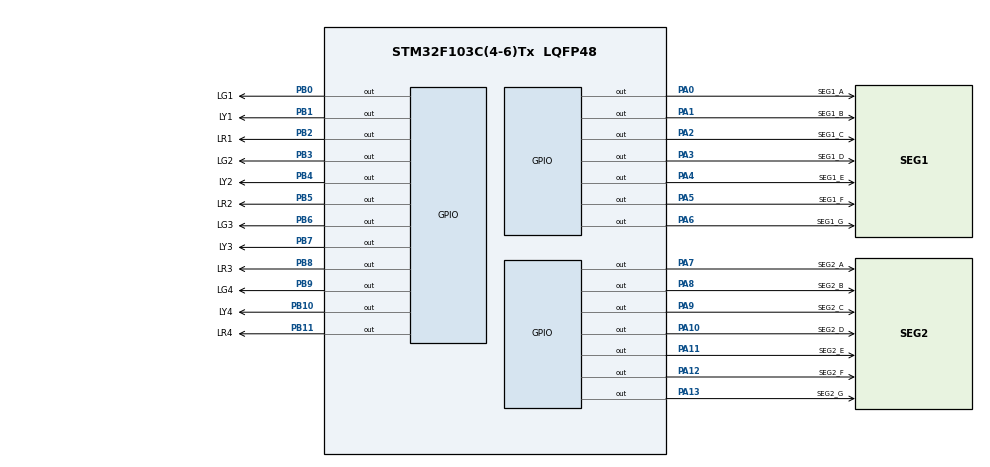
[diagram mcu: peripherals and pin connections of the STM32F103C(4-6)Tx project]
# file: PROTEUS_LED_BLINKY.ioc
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Mcu.Family=STM32F1
Mcu.Name=STM32F103C(4-6)Tx
Mcu.Package=LQFP48
NVIC.PriorityGroup=NVIC_PRIORITYGROUP_4
PA0-WKUP.GPIO_Label=SEG1_A
PA0-WKUP.Signal=GPIO_Output
PA1.GPIO_Label=SEG1_B
PA1.Signal=GPIO_Output
PA2.GPIO_Label=SEG1_C
PA2.Signal=GPIO_Output
PA3.GPIO_Label=SEG1_D
PA3.Signal=GPIO_Output
PA4.GPIO_Label=SEG1_E
PA4.Signal=GPIO_Output
PA5.GPIO_Label=SEG1_F
PA5.Signal=GPIO_Output
PA6.GPIO_Label=SEG1_G
PA6.Signal=GPIO_Output
PA7.GPIO_Label=SEG2_A
PA7.Signal=GPIO_Output
PA8.GPIO_Label=SEG2_B
PA8.Signal=GPIO_Output
PA9.GPIO_Label=SEG2_C
PA9.Signal=GPIO_Output
PA10.GPIO_Label=SEG2_D
PA10.Signal=GPIO_Output
PA11.GPIO_Label=SEG2_E
PA11.Signal=GPIO_Output
PA12.GPIO_Label=SEG2_F
PA12.Signal=GPIO_Output
PA13.GPIO_Label=SEG2_G
PA13.Signal=GPIO_Output
PB0.GPIO_Label=LG1
PB0.Signal=GPIO_Output
PB1.GPIO_Label=LY1
PB1.Signal=GPIO_Output
PB2.GPIO_Label=LR1
PB2.Signal=GPIO_Output
PB3.GPIO_Label=LG2
PB3.Signal=GPIO_Output
PB4.GPIO_Label=LY2
PB4.Signal=GPIO_Output
PB5.GPIO_Label=LR2
PB5.Signal=GPIO_Output
PB6.GPIO_Label=LG3
PB6.Signal=GPIO_Output
PB7.GPIO_Label=LY3
PB7.Signal=GPIO_Output
PB8.GPIO_Label=LR3
PB8.Signal=GPIO_Output
PB9.GPIO_Label=LG4
PB9.Signal=GPIO_Output
PB10.GPIO_Label=LY4
PB10.Signal=GPIO_Output
PB11.GPIO_Label=LR4
PB11.Signal=GPIO_Output
PD0-OSC_IN.Mode=HSE-External-Oscillator
PD0-OSC_IN.Signal=RCC_OSC_IN
PD1-OSC_OUT.Mode=HSE-External-Oscillator
PD1-OSC_OUT.Signal=RCC_OSC_OUT
ProjectManager.HeapSize=0x200
ProjectManager.StackSize=0x400
ProjectManager.TargetToolchain=STM32CubeIDE
RCC.APB1Freq_Value=8000000
RCC.APB2Freq_Value=8000000
VP_SYS_VS_ND.Mode=No_Debug
board=custom

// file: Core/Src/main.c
/* USER CODE BEGIN Header */
/**
  ******************************************************************************
  * @file           : main.c
  * @brief          : Main program body
  ******************************************************************************
  * @attention
  *
  * Copyright (c) 2026 STMicroelectronics.
  * All rights reserved.
  *
  * This software is licensed under terms that can be found in the LICENSE file
  * in the root directory of this software component.
  * If no LICENSE file comes with this software, it is provided AS-IS.
  *
  ******************************************************************************
  */
/* USER CODE END Header */
#include "main.h"

/* USER CODE BEGIN PD */
#define SEG1_PINS (SEG1_A_Pin | SEG1_B_Pin | SEG1_C_Pin | SEG1_D_Pin | \
                   SEG1_E_Pin | SEG1_F_Pin | SEG1_G_Pin)
#define SEG2_PINS (SEG2_A_Pin | SEG2_B_Pin | SEG2_C_Pin | SEG2_D_Pin | \
                   SEG2_E_Pin | SEG2_F_Pin | SEG2_G_Pin)
#define TRAFFIC_PINS (LG1_Pin | LY1_Pin | LR1_Pin | LG2_Pin | LY2_Pin | \
                      LR2_Pin | LG3_Pin | LY3_Pin | LR3_Pin | LG4_Pin | \
                      LY4_Pin | LR4_Pin)
/* USER CODE END PD */

void SystemClock_Config(void);
static void MX_GPIO_Init(void);
/* USER CODE BEGIN PFP */
void display7SEG(uint8_t display, int num);
/* USER CODE END PFP */

/* USER CODE BEGIN 0 */
/* Both displays are common-anode: RESET = segment on, SET = segment off. */
static void setSegments(uint8_t display, GPIO_PinState a, GPIO_PinState b,
                        GPIO_PinState c, GPIO_PinState d, GPIO_PinState e,
                        GPIO_PinState f, GPIO_PinState g)
{
  uint16_t pinA = (display == 1U) ? SEG1_A_Pin : SEG2_A_Pin;
  uint16_t pinB = (display == 1U) ? SEG1_B_Pin : SEG2_B_Pin;
  uint16_t pinC = (display == 1U) ? SEG1_C_Pin : SEG2_C_Pin;
  uint16_t pinD = (display == 1U) ? SEG1_D_Pin : SEG2_D_Pin;
  uint16_t pinE = (display == 1U) ? SEG1_E_Pin : SEG2_E_Pin;
  uint16_t pinF = (display == 1U) ? SEG1_F_Pin : SEG2_F_Pin;
  uint16_t pinG = (display == 1U) ? SEG1_G_Pin : SEG2_G_Pin;

  HAL_GPIO_WritePin(GPIOA, pinA, a);
  HAL_GPIO_WritePin(GPIOA, pinB, b);
  HAL_GPIO_WritePin(GPIOA, pinC, c);
  HAL_GPIO_WritePin(GPIOA, pinD, d);
  HAL_GPIO_WritePin(GPIOA, pinE, e);
  HAL_GPIO_WritePin(GPIOA, pinF, f);
  HAL_GPIO_WritePin(GPIOA, pinG, g);
}

/* All traffic-light cathodes are connected to GND: SET = LED on. */
static void setTraffic(GPIO_PinState lg1, GPIO_PinState ly1,
                       GPIO_PinState lr1, GPIO_PinState lg2,
                       GPIO_PinState ly2, GPIO_PinState lr2,
                       GPIO_PinState lg3, GPIO_PinState ly3,
                       GPIO_PinState lr3, GPIO_PinState lg4,
                       GPIO_PinState ly4, GPIO_PinState lr4)
{
  HAL_GPIO_WritePin(GPIOB, LG1_Pin, lg1);
  HAL_GPIO_WritePin(GPIOB, LY1_Pin, ly1);
  HAL_GPIO_WritePin(GPIOB, LR1_Pin, lr1);
  HAL_GPIO_WritePin(GPIOB, LG2_Pin, lg2);
  HAL_GPIO_WritePin(GPIOB, LY2_Pin, ly2);
  HAL_GPIO_WritePin(GPIOB, LR2_Pin, lr2);
  HAL_GPIO_WritePin(GPIOB, LG3_Pin, lg3);
  HAL_GPIO_WritePin(GPIOB, LY3_Pin, ly3);
  HAL_GPIO_WritePin(GPIOB, LR3_Pin, lr3);
  HAL_GPIO_WritePin(GPIOB, LG4_Pin, lg4);
  HAL_GPIO_WritePin(GPIOB, LY4_Pin, ly4);
  HAL_GPIO_WritePin(GPIOB, LR4_Pin, lr4);
}

void display7SEG(uint8_t display, int num)
{
  /* Each call lists A, B, C, D, E, F and G in that order. */
  switch (num)
  {
    case 0:
      setSegments(display, GPIO_PIN_RESET, GPIO_PIN_RESET, GPIO_PIN_RESET, GPIO_PIN_RESET, GPIO_PIN_RESET, GPIO_PIN_RESET, GPIO_PIN_SET);
      break;
    case 1:
      setSegments(display, GPIO_PIN_SET, GPIO_PIN_RESET, GPIO_PIN_RESET, GPIO_PIN_SET, GPIO_PIN_SET, GPIO_PIN_SET, GPIO_PIN_SET);
      break;
    case 2:
      setSegments(display, GPIO_PIN_RESET, GPIO_PIN_RESET, GPIO_PIN_SET, GPIO_PIN_RESET, GPIO_PIN_RESET, GPIO_PIN_SET, GPIO_PIN_RESET);
      break;
    case 3:
      setSegments(display, GPIO_PIN_RESET, GPIO_PIN_RESET, GPIO_PIN_RESET, GPIO_PIN_RESET, GPIO_PIN_SET, GPIO_PIN_SET, GPIO_PIN_RESET);
      break;
    case 4:
      setSegments(display, GPIO_PIN_SET, GPIO_PIN_RESET, GPIO_PIN_RESET, GPIO_PIN_SET, GPIO_PIN_SET, GPIO_PIN_RESET, GPIO_PIN_RESET);
      break;
    case 5:
      setSegments(display, GPIO_PIN_RESET, GPIO_PIN_SET, GPIO_PIN_RESET, GPIO_PIN_RESET, GPIO_PIN_SET, GPIO_PIN_RESET, GPIO_PIN_RESET);
      break;
    case 6:
      setSegments(display, GPIO_PIN_RESET, GPIO_PIN_SET, GPIO_PIN_RESET, GPIO_PIN_RESET, GPIO_PIN_RESET, GPIO_PIN_RESET, GPIO_PIN_RESET);
      break;
    case 7:
      setSegments(display, GPIO_PIN_RESET, GPIO_PIN_RESET, GPIO_PIN_RESET, GPIO_PIN_SET, GPIO_PIN_SET, GPIO_PIN_SET, GPIO_PIN_SET);
      break;
    case 8:
      setSegments(display, GPIO_PIN_RESET, GPIO_PIN_RESET, GPIO_PIN_RESET, GPIO_PIN_RESET, GPIO_PIN_RESET, GPIO_PIN_RESET, GPIO_PIN_RESET);
      break;
    case 9:
      setSegments(display, GPIO_PIN_RESET, GPIO_PIN_RESET, GPIO_PIN_RESET, GPIO_PIN_RESET, GPIO_PIN_SET, GPIO_PIN_RESET, GPIO_PIN_RESET);
      break;
    default:
      setSegments(display, GPIO_PIN_SET, GPIO_PIN_SET, GPIO_PIN_SET, GPIO_PIN_SET, GPIO_PIN_SET, GPIO_PIN_SET, GPIO_PIN_SET);
      break;
  }
}
/* USER CODE END 0 */

int main(void)
{

  /* MCU Configuration--------------------------------------------------------*/

  /* Reset of all peripherals, Initializes the Flash interface and the Systick. */
  HAL_Init();

  /* Configure the system clock */
  SystemClock_Config();

  /* Initialize all configured peripherals */
  MX_GPIO_Init();
  /* USER CODE BEGIN 2 */
  /* Startup hardware test: both displays show all segments for two seconds. */
  HAL_GPIO_WritePin(GPIOA, SEG1_PINS | SEG2_PINS, GPIO_PIN_RESET);
  HAL_Delay(2000);
  HAL_GPIO_WritePin(GPIOA, SEG1_PINS | SEG2_PINS, GPIO_PIN_SET);
  HAL_Delay(500);
  setTraffic(GPIO_PIN_RESET, GPIO_PIN_RESET, GPIO_PIN_RESET,
             GPIO_PIN_RESET, GPIO_PIN_RESET, GPIO_PIN_RESET,
             GPIO_PIN_RESET, GPIO_PIN_RESET, GPIO_PIN_RESET,
             GPIO_PIN_RESET, GPIO_PIN_RESET, GPIO_PIN_RESET);
  /* USER CODE END 2 */

  /* Infinite loop */
  /* USER CODE BEGIN WHILE */
  while (1)
  {
    /* Poles 1 and 2 are opposite; poles 3 and 4 are opposite.
       Red lasts 5 s = 3 s green + 2 s yellow. */
    for (int t = 5; t > 0; --t)
    {
      if (t > 2)
      {
        setTraffic(GPIO_PIN_SET, GPIO_PIN_RESET, GPIO_PIN_RESET,
                   GPIO_PIN_SET, GPIO_PIN_RESET, GPIO_PIN_RESET,
                   GPIO_PIN_RESET, GPIO_PIN_RESET, GPIO_PIN_SET,
                   GPIO_PIN_RESET, GPIO_PIN_RESET, GPIO_PIN_SET);
        display7SEG(1, t - 2);
      }
      else
      {
        setTraffic(GPIO_PIN_RESET, GPIO_PIN_SET, GPIO_PIN_RESET,
                   GPIO_PIN_RESET, GPIO_PIN_SET, GPIO_PIN_RESET,
                   GPIO_PIN_RESET, GPIO_PIN_RESET, GPIO_PIN_SET,
                   GPIO_PIN_RESET, GPIO_PIN_RESET, GPIO_PIN_SET);
        display7SEG(1, t);
      }
      display7SEG(2, t);
      HAL_Delay(1000);
    }

    for (int t = 5; t > 0; --t)
    {
      display7SEG(1, t);
      if (t > 2)
      {
        setTraffic(GPIO_PIN_RESET, GPIO_PIN_RESET, GPIO_PIN_SET,
                   GPIO_PIN_RESET, GPIO_PIN_RESET, GPIO_PIN_SET,
                   GPIO_PIN_SET, GPIO_PIN_RESET, GPIO_PIN_RESET,
                   GPIO_PIN_SET, GPIO_PIN_RESET, GPIO_PIN_RESET);
        display7SEG(2, t - 2);
      }
      else
      {
        setTraffic(GPIO_PIN_RESET, GPIO_PIN_RESET, GPIO_PIN_SET,
                   GPIO_PIN_RESET, GPIO_PIN_RESET, GPIO_PIN_SET,
                   GPIO_PIN_RESET, GPIO_PIN_SET, GPIO_PIN_RESET,
                   GPIO_PIN_RESET, GPIO_PIN_SET, GPIO_PIN_RESET);
        display7SEG(2, t);
      }
      HAL_Delay(1000);
    }

    /* USER CODE END WHILE */

  }
}

void SystemClock_Config(void)
{
  RCC_OscInitTypeDef RCC_OscInitStruct = {0};
  RCC_ClkInitTypeDef RCC_ClkInitStruct = {0};

  /** Initializes the RCC Oscillators according to the specified parameters
  * in the RCC_OscInitTypeDef structure.
  */
  RCC_OscInitStruct.OscillatorType = RCC_OSCILLATORTYPE_HSI;
  RCC_OscInitStruct.HSIState = RCC_HSI_ON;
  RCC_OscInitStruct.HSICalibrationValue = RCC_HSICALIBRATION_DEFAULT;
  RCC_OscInitStruct.PLL.PLLState = RCC_PLL_NONE;
  if (HAL_RCC_OscConfig(&RCC_OscInitStruct) != HAL_OK)
  {
    Error_Handler();
  }

  /** Initializes the CPU, AHB and APB buses clocks
  */
  RCC_ClkInitStruct.ClockType = RCC_CLOCKTYPE_HCLK|RCC_CLOCKTYPE_SYSCLK
                              |RCC_CLOCKTYPE_PCLK1|RCC_CLOCKTYPE_PCLK2;
  RCC_ClkInitStruct.SYSCLKSource = RCC_SYSCLKSOURCE_HSI;
  RCC_ClkInitStruct.AHBCLKDivider = RCC_SYSCLK_DIV1;
  RCC_ClkInitStruct.APB1CLKDivider = RCC_HCLK_DIV1;
  RCC_ClkInitStruct.APB2CLKDivider = RCC_HCLK_DIV1;

  if (HAL_RCC_ClockConfig(&RCC_ClkInitStruct, FLASH_LATENCY_0) != HAL_OK)
  {
    Error_Handler();
  }
}

static void MX_GPIO_Init(void)
{
  GPIO_InitTypeDef GPIO_InitStruct = {0};

  /* GPIO Ports Clock Enable */
  __HAL_RCC_GPIOD_CLK_ENABLE();
  __HAL_RCC_GPIOA_CLK_ENABLE();
  __HAL_RCC_GPIOB_CLK_ENABLE();

  /*Configure GPIO pin Output Level */
  HAL_GPIO_WritePin(GPIOA, SEG1_PINS | SEG2_PINS, GPIO_PIN_SET);
  HAL_GPIO_WritePin(GPIOB, TRAFFIC_PINS, GPIO_PIN_RESET);

  /* Configure PA0-PA13 for the two common-anode 7-segment displays. */
  GPIO_InitStruct.Pin = SEG1_PINS | SEG2_PINS;
  GPIO_InitStruct.Mode = GPIO_MODE_OUTPUT_PP;
  GPIO_InitStruct.Pull = GPIO_NOPULL;
  GPIO_InitStruct.Speed = GPIO_SPEED_FREQ_LOW;
  HAL_GPIO_Init(GPIOA, &GPIO_InitStruct);

  /* Configure PB0-PB11 for the four common-cathode traffic-light poles. */
  GPIO_InitStruct.Pin = TRAFFIC_PINS;
  HAL_GPIO_Init(GPIOB, &GPIO_InitStruct);

}

void Error_Handler(void)
{
  __disable_irq();
  while (1)
  {
  }
}
